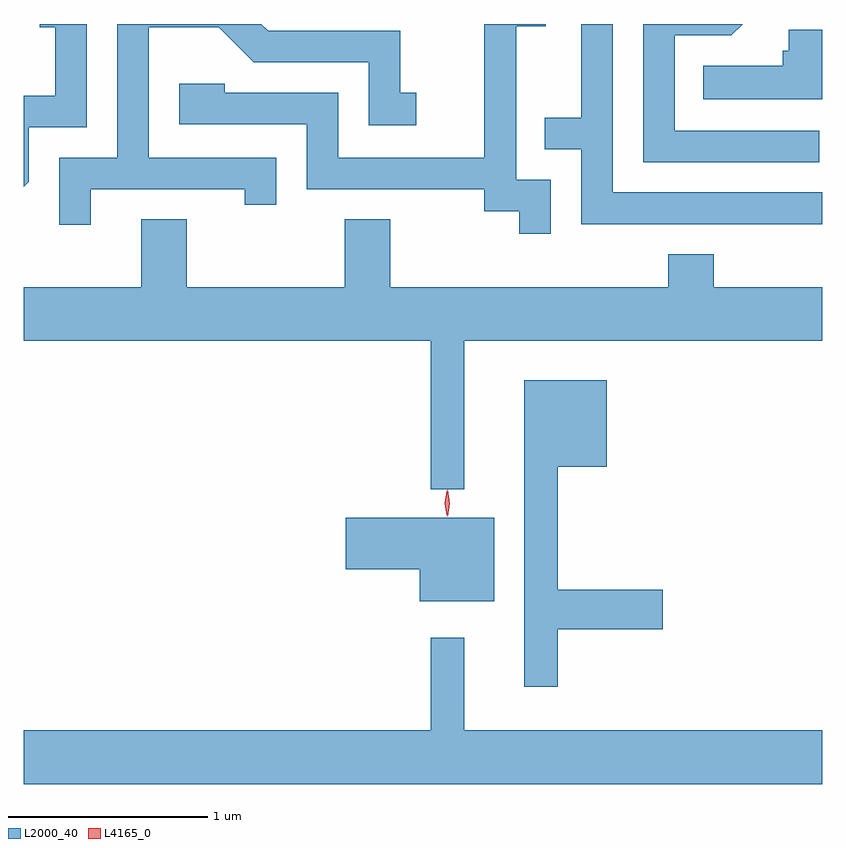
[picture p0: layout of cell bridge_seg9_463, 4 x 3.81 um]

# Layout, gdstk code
import gdstk
lib = gdstk.Library(unit=1e-6, precision=1e-09)
def P(c, l, *ps):  # polygons
    for p in ps: c.add(gdstk.Polygon(p, *l))
L2000_40 = (2000, 40)
L4165_0 = (4165, 0)

bridge_seg9_463 = lib.new_cell('bridge_seg9_463')
P(bridge_seg9_463, L2000_40, [(621.353,1985.899),(620.304,1985.899),(620.304,1986.743),(620.146,1986.743),(620.146,1986.274),(619.963,1986.274),(619.963,1986.116),(620.146,1986.116),(620.146,1985.741),(621.353,1985.741)],
  [(617.689,1985.916),(618.461,1985.916),(618.461,1985.838),(618.619,1985.838),(618.619,1986.074),(617.979,1986.074),(617.979,1986.726),(618.329,1986.726),(618.504,1986.551),(619.081,1986.551),(619.081,1986.236),(619.318,1986.236),(619.318,1986.399),(619.239,1986.399),(619.239,1986.709),(618.577,1986.709),(618.543,1986.743),(617.821,1986.743),(617.821,1986.074),(617.531,1986.074),(617.531,1985.738),(617.689,1985.738)],
  [(621.338,1986.209),(620.614,1986.209),(620.614,1986.686),(620.897,1986.686),(620.954,1986.743),(620.456,1986.743),(620.456,1986.051),(621.338,1986.051)],
  [(619.994,1985.964),(619.819,1985.964),(619.819,1986.731),(619.969,1986.731),(619.969,1986.743),(619.661,1986.743),(619.661,1986.074),(618.929,1986.074),(618.929,1986.399),(618.359,1986.399),(618.359,1986.444),(618.131,1986.444),(618.131,1986.241),(618.771,1986.241),(618.771,1985.916),(619.661,1985.916),(619.661,1985.806),(619.836,1985.806),(619.836,1985.693),(619.994,1985.693)],
  [(617.379,1985.954),(617.379,1986.226),(617.669,1986.226),(617.669,1986.743),(617.433,1986.743),(617.433,1986.726),(617.511,1986.726),(617.511,1986.384),(617.353,1986.384),(617.353,1985.928)],
  [(621.353,1986.714),(621.186,1986.714),(621.186,1986.609),(621.156,1986.609),(621.156,1986.534),(620.758,1986.534),(620.758,1986.366),(621.353,1986.366)],
  [(619.559,1985.156),(621.353,1985.156),(621.353,1985.424),(620.809,1985.424),(620.809,1985.589),(620.581,1985.589),(620.581,1985.424),(619.189,1985.424),(619.189,1985.764),(618.961,1985.764),(618.961,1985.424),(618.169,1985.424),(618.169,1985.764),(617.941,1985.764),(617.941,1985.424),(617.353,1985.424),(617.353,1985.156),(619.391,1985.156),(619.391,1984.413),(619.559,1984.413)],
  [(620.029,1983.711),(620.554,1983.711),(620.554,1983.909),(620.029,1983.909),(620.029,1984.526),(620.274,1984.526),(620.274,1984.959),(619.861,1984.959),(619.861,1983.423),(620.029,1983.423)],
  [(619.709,1984.269),(618.966,1984.269),(618.966,1984.011),(619.336,1984.011),(619.336,1983.851),(619.709,1983.851)],
  [(621.353,1983.204),(619.559,1983.204),(619.559,1983.668),(619.391,1983.668),(619.391,1983.204),(617.353,1983.204),(617.353,1982.936),(621.353,1982.936)])
P(bridge_seg9_463, L4165_0, [(619.477,1984.274),(619.467,1984.342),(619.476,1984.41),(619.477,1984.41),(619.477,1984.41),(619.487,1984.342),(619.478,1984.274),(619.478,1984.274)],
  [(619.471,1984.28),(619.462,1984.343),(619.471,1984.406),(619.472,1984.407),(619.472,1984.406),(619.482,1984.343),(619.472,1984.28),(619.472,1984.28)])

lib.write_gds('bridge_seg9_463.gds')
